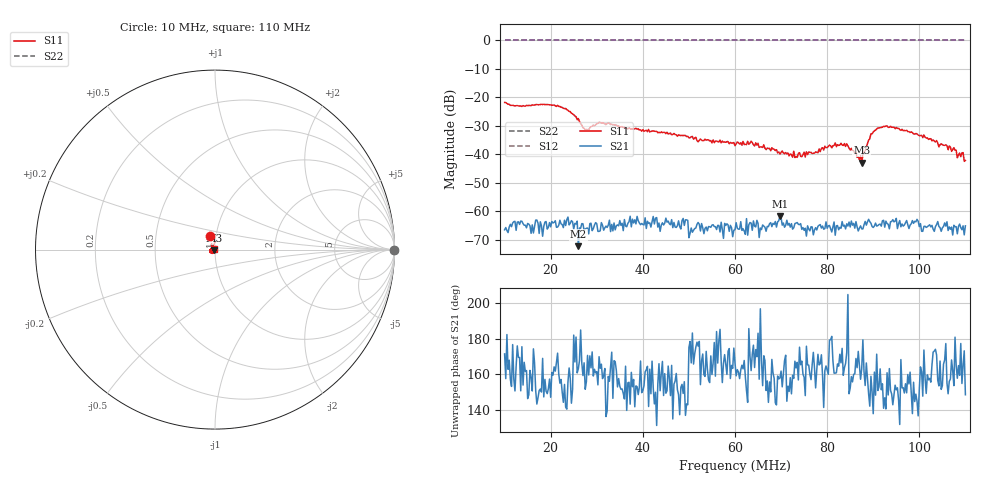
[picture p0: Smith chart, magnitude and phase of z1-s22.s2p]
! Anritsu VNA Master:  Model: MS2034B/10/19/501
! SN:  1337062
! /bd0/ovro-jan-2016/z1-s22.s2p
! Existing Calibration Information:
! TYPE:  Current Settings,  Active Cal Settings
! TIME:  01/08/2016 01:30:46 PM,  01/08/2016 01:28:30 PM
! INTERNAL TEMP:  48.3 C,  48.5 C
! # POINTS:  401,  401
! START FREQ:  10.000 MHz,  10.000 MHz
! STOP FREQ:  110.000 MHz,  110.000 MHz
! SOURCE POWER:  Low,  Low
! IFBW:  100 Hz,  100 Hz
! AVG FACTOR:  1 ,  1
! REF PLANE 1:  0 mm,  0 mm
! REF PLANE 2:  0 mm,  0 mm
! CAL TYPE:  Full S11,  Full S11
! CAL METHOD:  SOLT,  SOLT
! CAL LINE TYPE:  Coax,  Coax
! DUT PORT 1:  K-Conn(M),  K-Conn(M)
! DUT PORT 2:  N-Conn(M),  N-Conn(M)
! CAL STATUS:  OK: Accuracy High,  --
# GHZ S DB R 50.0
! FREQ.GHZ  S11DB  S11A  S21DB  S21A  S12DB  S12A  S22DB  S22A
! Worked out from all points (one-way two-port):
!   401 points, 10 MHz to 110 MHz, reference 50 ohm
!   highest |S21| = -61.64 dB at 69.75 MHz (marker M1); lowest = -72.2 dB at 26 MHz (marker M2)
!   lowest |S11| = -42.9 dB at 87.5 MHz (marker M3), VSWR 1.01, Z = 49.5 - j0.465 ohm
!   |S11| at or under -10 dB: start of sweep to end of sweep
!   |S22| runs from 0.0 to 0.0 dB; largest |S21 - S12| = 1
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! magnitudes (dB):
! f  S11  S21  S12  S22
! 10 MHz  -21.8  -66.5  0.0  0.0
! 13.25 MHz  -23.0  -64.6  0.0  0.0
! 16 MHz  -22.6  -64.8  0.0  0.0
! 22 MHz  -23.2  -63.1  0.0  0.0
! 24 MHz  -24.9  -64.8  0.0  0.0
! 26 MHz  -27.4  -72.2  0.0  0.0
! 26.75 MHz  -29.8  -64.3  0.0  0.0
! 42.5 MHz  -31.9  -64.5  0.0  0.0
! 43.5 MHz  -32.2  -64.1  0.0  0.0
! 49.25 MHz  -33.4  -63.0  0.0  0.0
! 50.5 MHz  -33.8  -65.9  0.0  0.0
! 52.25 MHz  -35.1  -64.6  0.0  0.0
! 60 MHz  -37.0  -66.5  0.0  0.0
! 64.5 MHz  -35.9  -65.5  0.0  0.0
! 65.75 MHz  -37.4  -66.4  0.0  0.0
! 69.75 MHz  -39.9  -61.6  0.0  0.0
! 76.75 MHz  -39.7  -65.5  0.0  0.0
! 83.25 MHz  -36.7  -63.6  0.0  0.0
! 87.5 MHz  -42.9  -66.2  0.0  0.0
! 90 MHz  -32.2  -65.7  0.0  0.0
! 93.5 MHz  -30.5  -66.1  0.0  0.0
! 110 MHz  -42.1  -65.1  0.0  0.0
